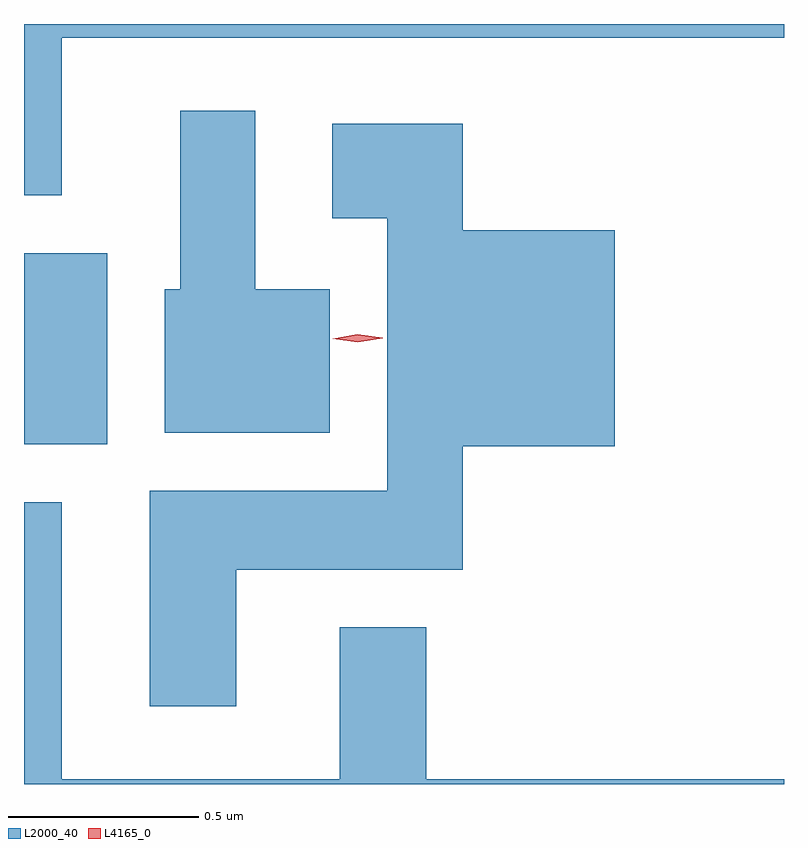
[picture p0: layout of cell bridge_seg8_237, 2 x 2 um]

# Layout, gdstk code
import gdstk
lib = gdstk.Library(unit=1e-6, precision=1e-09)
def R(c, l, rs):  # rectangles x0, y0, x1, y1
    for r in rs: c.add(gdstk.rectangle(r[:2], r[2:], *l))
def P(c, l, *ps):  # polygons
    for p in ps: c.add(gdstk.Polygon(p, *l))
L2000_40 = (2000, 40)
L4165_0 = (4165, 0)

bridge_seg8_237 = lib.new_cell('bridge_seg8_237')
R(bridge_seg8_237, L2000_40, [(1049.06,1906.386,1049.279,1906.889)])
P(bridge_seg8_237, L2000_40, [(1049.159,1907.456),(1051.06,1907.456),(1051.06,1907.492),(1049.06,1907.492),(1049.06,1907.041),(1049.159,1907.041)],
  [(1049.864,1906.794),(1049.669,1906.794),(1049.669,1907.264),(1049.471,1907.264),(1049.471,1906.794),(1049.431,1906.794),(1049.431,1906.416),(1049.864,1906.416)],
  [(1049.619,1906.056),(1050.214,1906.056),(1050.214,1906.381),(1050.614,1906.381),(1050.614,1906.949),(1050.214,1906.949),(1050.214,1907.229),(1049.871,1907.229),(1049.871,1906.981),(1050.016,1906.981),(1050.016,1906.264),(1049.391,1906.264),(1049.391,1905.696),(1049.619,1905.696)],
  [(1051.06,1905.504),(1050.119,1905.504),(1050.119,1905.904),(1049.891,1905.904),(1049.891,1905.504),(1049.159,1905.504),(1049.159,1906.234),(1049.06,1906.234),(1049.06,1905.492),(1051.06,1905.492)])
P(bridge_seg8_237, L4165_0, [(1049.938,1906.655),(1049.872,1906.664),(1049.871,1906.664),(1049.872,1906.664),(1049.937,1906.675),(1050.004,1906.666),(1050.004,1906.666),(1050.004,1906.665)])

lib.write_gds('bridge_seg8_237.gds')
